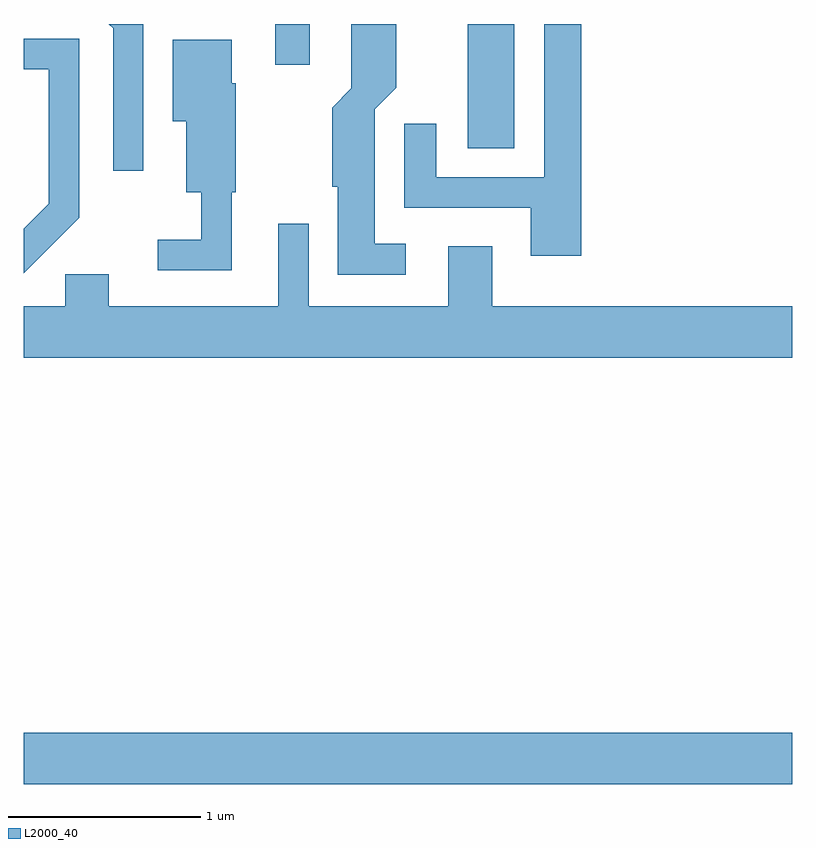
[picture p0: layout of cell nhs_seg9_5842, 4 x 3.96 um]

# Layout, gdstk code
import gdstk
lib = gdstk.Library(unit=1e-6, precision=1e-09)
def R(c, l, rs):  # rectangles x0, y0, x1, y1
    for r in rs: c.add(gdstk.rectangle(r[:2], r[2:], *l))
def P(c, l, *ps):  # polygons
    for p in ps: c.add(gdstk.Polygon(p, *l))
L2000_40 = (2000, 40)

nhs_seg9_5842 = lib.new_cell('nhs_seg9_5842')
R(nhs_seg9_5842, L2000_40, [(357.611,1998.476,361.611,1998.744), (359.921,2001.786,360.164,2002.432), (358.921,2002.221,359.099,2002.432)])
P(nhs_seg9_5842, L2000_40, [(360.514,2002.432),(360.321,2002.432),(360.321,2001.634),(359.759,2001.634),(359.759,2001.913),(359.591,2001.913),(359.591,2001.476),(360.251,2001.476),(360.251,2001.226),(360.514,2001.226)],
  [(359.598,2001.289),(359.439,2001.289),(359.439,2001.989),(359.549,2002.099),(359.549,2002.432),(359.316,2002.432),(359.316,2002.097),(359.216,2001.997),(359.216,2001.586),(359.246,2001.586),(359.246,2001.126),(359.598,2001.126)],
  [(358.234,2002.432),(358.053,2002.432),(358.076,2002.409),(358.076,2001.668),(358.234,2001.668)],
  [(357.899,2001.424),(357.899,2002.354),(357.611,2002.354),(357.611,2002.196),(357.741,2002.196),(357.741,2001.497),(357.611,2001.366),(357.611,2001.135)],
  [(358.694,2001.556),(358.714,2001.556),(358.714,2002.124),(358.694,2002.124),(358.694,2002.349),(358.386,2002.349),(358.386,2001.926),(358.456,2001.926),(358.456,2001.556),(358.536,2001.556),(358.536,2001.309),(358.308,2001.309),(358.308,2001.151),(358.694,2001.151)],
  [(359.821,2001.274),(359.821,2000.964),(359.094,2000.964),(359.094,2001.393),(358.936,2001.393),(358.936,2000.964),(358.054,2000.964),(358.054,2001.129),(357.826,2001.129),(357.826,2000.964),(357.611,2000.964),(357.611,2000.696),(361.611,2000.696),(361.611,2000.964),(360.049,2000.964),(360.049,2001.274)])

lib.write_gds('nhs_seg9_5842.gds')
